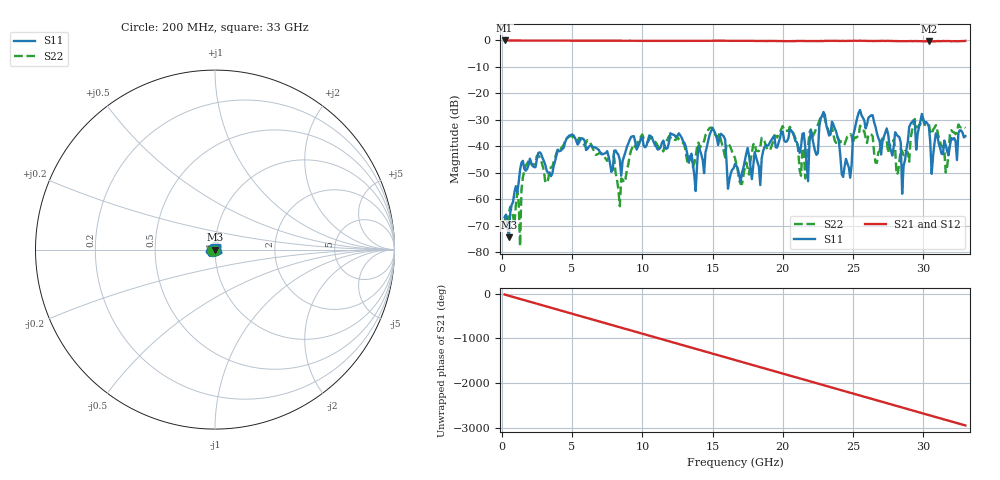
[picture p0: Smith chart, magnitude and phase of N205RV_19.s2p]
# GHZ S RI R 50
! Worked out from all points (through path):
!   329 points, 200 MHz to 33 GHz, reference 50 ohm
!   highest |S21| = -0.02 dB at 200 MHz (marker M1); lowest = -0.4 dB at 30.4 GHz (marker M2)
!   group delay of S21, straight-line fit = 248 ps
!   lowest |S11| = -74.4 dB at 500 MHz (marker M3), VSWR 1.00, Z = 50 - j0.00394 ohm
!   |S11| at or under -10 dB: start of sweep to end of sweep
!   |S22| runs from -77.7 to -28.3 dB; largest |S21 - S12| = 0.0019
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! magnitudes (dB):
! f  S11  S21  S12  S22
! 200 MHz  -66.8  0.0  0.0  -68.3
! 500 MHz  -74.4  0.0  0.0  -65.5
! 1.1 GHz  -57.4  -0.1  -0.1  -57.4
! 1.3 GHz  -48.9  -0.1  -0.1  -77.7
! 1.4 GHz  -46.2  -0.1  -0.1  -56.4
! 5.7 GHz  -37.0  -0.1  -0.1  -38.4
! 8 GHz  -41.7  -0.1  -0.1  -44.4
! 8.4 GHz  -45.1  -0.1  -0.1  -62.6
! 9.4 GHz  -36.2  -0.1  -0.1  -39.3
! 11.2 GHz  -41.1  -0.2  -0.2  -40.8
! 16.6 GHz  -46.7  -0.1  -0.1  -44.5
! 20.5 GHz  -33.6  -0.3  -0.3  -32.7
! 21.8 GHz  -53.2  -0.2  -0.2  -40.3
! 22.1 GHz  -36.8  -0.3  -0.3  -36.8
! 27.6 GHz  -39.8  -0.2  -0.2  -39.5
! 28.3 GHz  -36.6  -0.3  -0.3  -45.8
! 28.5 GHz  -57.9  -0.3  -0.3  -41.9
! 29 GHz  -32.7  -0.2  -0.2  -45.8
! 30.4 GHz  -32.6  -0.4  -0.4  -31.6
! 30.6 GHz  -50.4  -0.3  -0.3  -35.4
! 31.6 GHz  -39.6  -0.3  -0.3  -49.9
! 33 GHz  -36.1  -0.2  -0.2  -33.0
